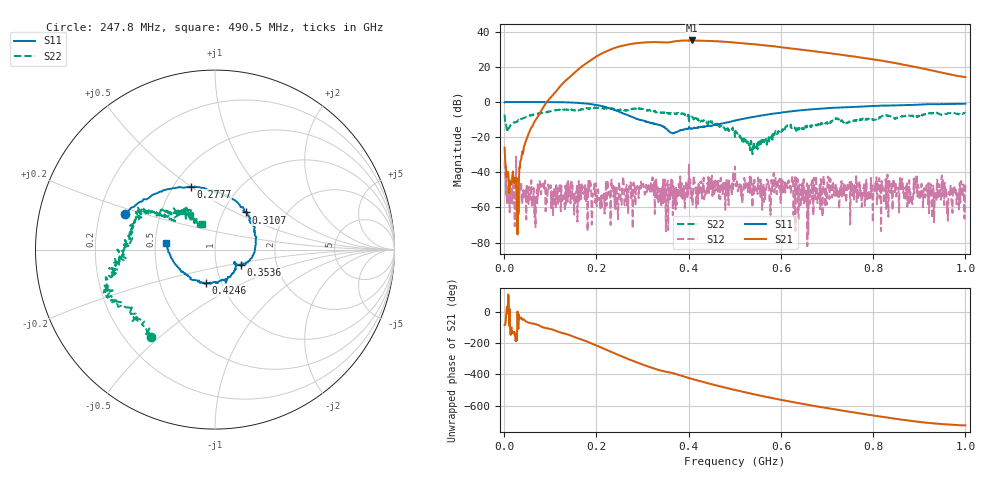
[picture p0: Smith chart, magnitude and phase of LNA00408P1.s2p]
! Created with skrf 1.9.0 (http://scikit-rf.org).
# Hz S RI R 50.0
!freq ReS11 ImS11 ReS21 ImS21 ReS12 ImS12 ReS22 ImS22
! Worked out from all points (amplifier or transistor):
!   1001 points, 1 MHz to 1 GHz, reference 50 ohm
!   highest |S21| = 35.1 dB at 406.6 MHz (marker M1)
!   |S21| within 3 dB of that: 256.7 MHz to 572.2 MHz (315.4 MHz wide, 76.1 % of centre)
!   unconditionally stable (mu >= 1): 259 MHz to 400.2 MHz; 400.9 MHz to 500.4 MHz; 500.5 MHz to end of sweep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
!   at 166.8 MHz: K = 2.78, MAG = 30.2 dB, |S12| = -55.2 dB
!   at 500.5 MHz: K = 0.98, MSG = 35.3 dB, |S12| = -36.7 dB
!   at 1 GHz: K = 2.59, MAG = 23.0 dB, |S12| = -45.8 dB
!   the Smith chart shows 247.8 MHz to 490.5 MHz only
!   S11 on the Smith chart (normalised r, x): 247.8 MHz: 0.31, +0.17; 277.7 MHz: 0.61, +0.50; 310.7 MHz: 1.28, +0.57; 353.6 MHz: 1.31, -0.22; 424.6 MHz: 0.85, -0.33; 490.5 MHz: 0.57, +0.05
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1000000  0.9759 0.000852  0.00443 -0.0501  -0.0158 -0.0127  0.2981 0.3217
1.08892e8  0.52 -0.8469  -0.8455 -1.571  -0.00353 -0.00113  0.4229 -0.3839
1.67833e8  -0.2314 -0.8967  -10.16 -0.4663  0.00356 -0.0032  0.00681 -0.6337
2.11789e8  -0.6794 -0.352  -15.46 18.52  0.000725 0.000709  -0.2275 -0.6183
2.29771e8  -0.6542 -0.0528  -8.779 29.46  -0.000606 -0.00295  -0.2996 -0.5955
2.47753e8  -0.4995 0.1984  4.01 37.18  0.00111 0.000397  -0.3574 -0.4854
2.77723e8  -0.1355 0.3497  30.68 33.8  -0.00087 0.00166  -0.5721 -0.294
3.1069e8  0.1743 0.2067  48.94 10.2  0.00296 0.0033  -0.5534 -0.131
3.34666e8  0.2253 0.0157  49.61 -10.13  -0.00123 0.00028  -0.5277 -0.0185
3.53647e8  0.1425 -0.0832  44.62 -21.02  -0.00421 0.000488  -0.4714 0.0965
3.76624e8  0.1145 -0.0885  40.99 -36.43  0.000655 0.00332  -0.441 0.2045
4.06594e8  0.037 -0.1724  20.8 -52.66  0.00136 0.00238  -0.3091 0.202
4.24576e8  -0.0489 -0.1878  6.474 -55.41  0.00167 0.00482  -0.2065 0.2038
4.55545e8  -0.1873 -0.1246  -16.34 -51.39  -6.03e-05 0.00244  -0.1407 0.1779
4.9051e8  -0.2722 0.0395  -34.32 -36.86  0.00445 0.000619  -0.0732 0.1444
5.005e8  -0.2824 0.1015  -37.9 -31.82  0.0145 -0.00174  -0.0592 0.0818
5.4046e8  -0.2318 0.2982  -42.99 -10.31  0.00236 -0.0026  -0.0357 0.0302
5.88412e8  -0.0496 0.4715  -36.45 10.68  -0.00181 -0.00671  -0.1291 -0.0786
6.67333e8  0.3187 0.5336  -14.4 24.28  0.00182 -0.00558  -0.2049 -0.0749
7.53247e8  0.6237 0.3697  3.914 19.7  -0.000167 -0.00303  -0.2732 -0.00666
8.34166e8  0.7815 0.1452  10.22 9.346  -0.00207 -0.00328  -0.3933 0.00882
1e9  0.8138 -0.3825  5.08 -0.5623  0.00309 0.00407  -0.309 0.3709
